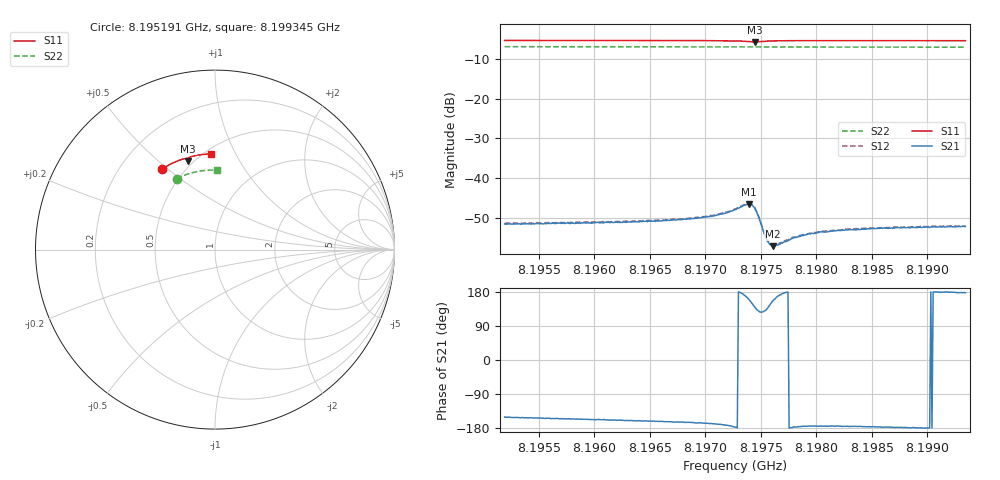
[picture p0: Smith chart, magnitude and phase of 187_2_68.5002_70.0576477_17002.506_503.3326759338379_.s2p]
#  HZ  S  RI  R  50.00
! Rohde & Schwarz Vector Network Analyzer
! Rohde-Schwarz,ZNB20-2Port,1311601062101988,3.16
! Created: UTC 3/20/2024, 5:12:05 PM
! freq[Hz]  re:S11  im:S11  re:S21  im:S21  re:S12  im:S12  re:S22  im:S22
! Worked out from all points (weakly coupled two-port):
!   401 points, 8.195191 GHz to 8.199345 GHz, reference 50 ohm
!   highest |S21| = -46.54 dB at 8.197393 GHz (marker M1); lowest = -57.1 dB at 8.197611 GHz (marker M2)
!   lowest |S11| = -5.8 dB at 8.197445 GHz (marker M3), VSWR 3.13, Z = 23.5 + j31.6 ohm
!   |S11| at or under -10 dB: nowhere
!   |S22| runs from -7.1 to -6.9 dB; largest |S21 - S12| = 0.00024
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8.1951915e9  -0.2973 0.4479  -0.0023 -0.00131  -0.0024 -0.00122  -0.214 0.3951
8.1958872e9  -0.2547 0.4729  -0.00251 -0.0011  -0.00261 -0.00101  -0.1784 0.4114
8.1965829e9  -0.2093 0.4938  -0.00276 -0.000888  -0.00285 -0.000808  -0.1415 0.4242
8.196884e9  -0.1885 0.5013  -0.003 -0.000808  -0.00308 -0.000715  -0.1251 0.4288
8.1970398e9  -0.1767 0.505  -0.00322 -0.000676  -0.00333 -0.000578  -0.1164 0.4309
8.1971747e9  -0.1656 0.5073  -0.00355 -0.00054  -0.00366 -0.000406  -0.1091 0.4325
8.1972682e9  -0.1568 0.5074  -0.00399 -0.000216  -0.0041 -6.96e-05  -0.1038 0.4335
8.1973616e9  -0.1472 0.5031  -0.00452 0.000858  -0.00452 0.00109  -0.0986 0.4344
8.1973928e9  -0.1455 0.4993  -0.00443 0.00159  -0.00444 0.00181  -0.0968 0.4346
8.1974239e9  -0.1465 0.4952  -0.00386 0.00237  -0.00384 0.00257  -0.0952 0.4349
8.1974447e9  -0.1491 0.4935  -0.00323 0.00269  -0.00321 0.00288  -0.0942 0.4351
8.1974759e9  -0.1534 0.4946  -0.00221 0.0026  -0.00211 0.00275  -0.0927 0.4354
8.1975382e9  -0.1553 0.5025  -0.00122 0.00146  -0.00118 0.00153  -0.0892 0.4362
8.1975589e9  -0.1542 0.505  -0.00116 0.00113  -0.00115 0.0012  -0.0882 0.4366
8.1975797e9  -0.1528 0.507  -0.00119 0.000862  -0.0012 0.000923  -0.087 0.4367
8.1976108e9  -0.1503 0.5095  -0.00128 0.000553  -0.00129 0.000633  -0.0852 0.4372
8.1976731e9  -0.145 0.5129  -0.00146 0.000207  -0.00151 0.000294  -0.0818 0.4377
8.1977978e9  -0.1347 0.5171  -0.00179 -0.000111  -0.00181 3.98e-06  -0.0746 0.4386
8.1979639e9  -0.122 0.5207  -0.00201 -0.000203  -0.00204 -0.000133  -0.0654 0.4399
8.1982858e9  -0.0986 0.5258  -0.00222 -0.000203  -0.00228 -0.00012  -0.0471 0.4417
8.1986596e9  -0.0719 0.5297  -0.00235 -0.000125  -0.0024 2.01e-06  -0.026 0.4428
8.1993449e9  -0.0231 0.5334  -0.00246 0.000104  -0.00248 0.000211  0.0128 0.4421
